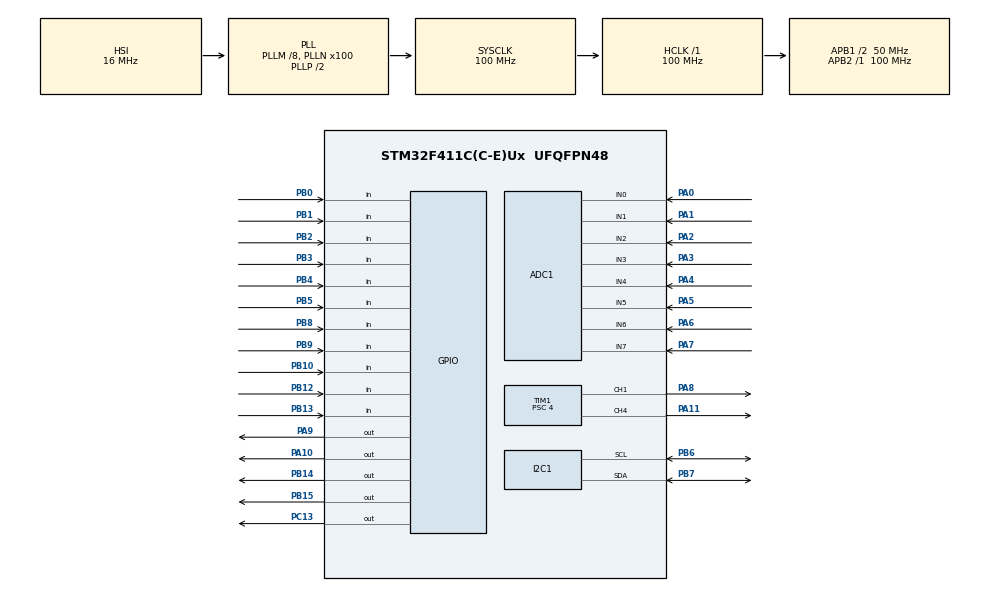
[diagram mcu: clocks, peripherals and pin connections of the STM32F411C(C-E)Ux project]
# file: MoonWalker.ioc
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ADC1.Channel-10\#ChannelRegularConversion=ADC_CHANNEL_2
ADC1.Channel-11\#ChannelRegularConversion=ADC_CHANNEL_3
ADC1.Channel-12\#ChannelRegularConversion=ADC_CHANNEL_4
ADC1.Channel-13\#ChannelRegularConversion=ADC_CHANNEL_5
ADC1.Channel-14\#ChannelRegularConversion=ADC_CHANNEL_6
ADC1.Channel-15\#ChannelRegularConversion=ADC_CHANNEL_7
ADC1.Channel-16\#ChannelRegularConversion=ADC_CHANNEL_VBAT
ADC1.Channel-17\#ChannelRegularConversion=ADC_CHANNEL_VREFINT
ADC1.Channel-9\#ChannelRegularConversion=ADC_CHANNEL_1
ADC1.ContinuousConvMode=ENABLE
ADC1.DMAContinuousRequests=ENABLE
ADC1.NbrOfConversion=10
ADC1.NbrOfConversionFlag=1
ADC1.Rank-10\#ChannelRegularConversion=3
ADC1.Rank-11\#ChannelRegularConversion=4
ADC1.Rank-12\#ChannelRegularConversion=5
ADC1.Rank-13\#ChannelRegularConversion=6
ADC1.Rank-14\#ChannelRegularConversion=7
ADC1.Rank-15\#ChannelRegularConversion=8
ADC1.Rank-16\#ChannelRegularConversion=9
ADC1.Rank-17\#ChannelRegularConversion=10
ADC1.Rank-9\#ChannelRegularConversion=2
ADC1.SamplingTime-10\#ChannelRegularConversion=ADC_SAMPLETIME_3CYCLES
ADC1.SamplingTime-11\#ChannelRegularConversion=ADC_SAMPLETIME_3CYCLES
ADC1.SamplingTime-12\#ChannelRegularConversion=ADC_SAMPLETIME_3CYCLES
ADC1.SamplingTime-13\#ChannelRegularConversion=ADC_SAMPLETIME_3CYCLES
ADC1.SamplingTime-14\#ChannelRegularConversion=ADC_SAMPLETIME_3CYCLES
ADC1.SamplingTime-15\#ChannelRegularConversion=ADC_SAMPLETIME_3CYCLES
ADC1.SamplingTime-16\#ChannelRegularConversion=ADC_SAMPLETIME_3CYCLES
ADC1.SamplingTime-17\#ChannelRegularConversion=ADC_SAMPLETIME_3CYCLES
ADC1.SamplingTime-9\#ChannelRegularConversion=ADC_SAMPLETIME_3CYCLES
ADC1.ScanConvMode=ENABLE
ADC1.master=1
Dma.ADC1.0.Direction=DMA_PERIPH_TO_MEMORY
Dma.ADC1.0.FIFOMode=DMA_FIFOMODE_DISABLE
Dma.ADC1.0.Instance=DMA2_Stream0
Dma.ADC1.0.MemDataAlignment=DMA_MDATAALIGN_HALFWORD
Dma.ADC1.0.MemInc=DMA_MINC_ENABLE
Dma.ADC1.0.Mode=DMA_CIRCULAR
Dma.ADC1.0.PeriphDataAlignment=DMA_PDATAALIGN_HALFWORD
Dma.ADC1.0.PeriphInc=DMA_PINC_DISABLE
Dma.ADC1.0.Priority=DMA_PRIORITY_VERY_HIGH
Dma.Request0=ADC1
Mcu.Family=STM32F4
Mcu.Name=STM32F411C(C-E)Ux
Mcu.Package=UFQFPN48
NVIC.DMA2_Stream0_IRQn=true\:0\:0\:false\:false\:true\:false\:true\:true
NVIC.PriorityGroup=NVIC_PRIORITYGROUP_4
PA0-WKUP.Signal=ADCx_IN0
PA1.Signal=ADCx_IN1
PA10.Signal=GPIO_Output
PA11.Signal=S_TIM1_CH4
PA2.Signal=ADCx_IN2
PA3.Signal=ADCx_IN3
PA4.Signal=ADCx_IN4
PA5.Signal=ADCx_IN5
PA6.Signal=ADCx_IN6
PA7.Signal=ADCx_IN7
PA8.Signal=S_TIM1_CH1
PA9.Signal=GPIO_Output
PB0.Signal=GPIO_Input
PB1.Signal=GPIO_Input
PB10.Signal=GPIO_Input
PB12.Signal=GPIO_Input
PB13.Signal=GPIO_Input
PB14.Signal=GPIO_Output
PB15.Signal=GPIO_Output
PB2.Signal=GPIO_Input
PB3.Signal=GPIO_Input
PB4.Signal=GPIO_Input
PB5.Signal=GPIO_Input
PB6.Mode=I2C
PB6.Signal=I2C1_SCL
PB7.Mode=I2C
PB7.Signal=I2C1_SDA
PB8.Signal=GPIO_Input
PB9.Signal=GPIO_Input
PC13-ANTI_TAMP.Signal=GPIO_Output
ProjectManager.HeapSize=0x200
ProjectManager.StackSize=0x400
ProjectManager.TargetToolchain=CMake
RCC.48MHZClocksFreq_Value=50000000
RCC.AHBFreq_Value=100000000
RCC.APB1CLKDivider=RCC_HCLK_DIV2
RCC.APB1Freq_Value=50000000
RCC.APB1TimFreq_Value=100000000
RCC.APB2Freq_Value=100000000
RCC.APB2TimFreq_Value=100000000
RCC.CortexFreq_Value=100000000
RCC.HCLKFreq_Value=100000000
RCC.HSE_VALUE=25000000
RCC.HSI_VALUE=16000000
RCC.LSE_VALUE=32768
RCC.PLLM=8
RCC.PLLN=100
RCC.SYSCLKFreq_VALUE=100000000
RCC.SYSCLKSource=RCC_SYSCLKSOURCE_PLLCLK
RCC.VCOOutputFreq_Value=200000000
SH.ADCx_IN0.0=ADC1_IN0,IN0
SH.ADCx_IN1.0=ADC1_IN1,IN1
SH.ADCx_IN2.0=ADC1_IN2,IN2
SH.ADCx_IN3.0=ADC1_IN3,IN3
SH.ADCx_IN4.0=ADC1_IN4,IN4
SH.ADCx_IN5.0=ADC1_IN5,IN5
SH.ADCx_IN6.0=ADC1_IN6,IN6
SH.ADCx_IN7.0=ADC1_IN7,IN7
SH.S_TIM1_CH1.0=TIM1_CH1,PWM Generation1 CH1
SH.S_TIM1_CH4.0=TIM1_CH4,PWM Generation4 CH4
TIM1.Channel-PWM\ Generation1\ CH1=TIM_CHANNEL_1
TIM1.Channel-PWM\ Generation4\ CH4=TIM_CHANNEL_4
TIM1.Period=1000
TIM1.Prescaler=4
VP_ADC1_Vbat_Input.Mode=IN-Vbat
VP_ADC1_Vref_Input.Mode=IN-Vrefint
VP_TIM1_VS_ClockSourceINT.Mode=Internal
VP_TIM1_VS_ClockSourceITR.Mode=TriggerSource_ITR0
board=custom

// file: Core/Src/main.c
/* USER CODE BEGIN Header */
/**
  ******************************************************************************
  * @file           : main.c
  * @brief          : Main program body
  ******************************************************************************
  * @attention
  *
  * Copyright (c) 2026 STMicroelectronics.
  * All rights reserved.
  *
  * This software is licensed under terms that can be found in the LICENSE file
  * in the root directory of this software component.
  * If no LICENSE file comes with this software, it is provided AS-IS.
  *
  ******************************************************************************
  */
/* USER CODE END Header */
#include "main.h"

/* USER CODE BEGIN Includes */
#include "motor.h"
#include "mpu6050.h"
#include "ssd1306.h"
#include "stm32f4xx_hal_adc.h"
#include <stdint.h>
#include"followin.h"
#include "ssd1306_fonts.h"
#include "stdio.h"
#include "oled.h"
extern float last_known_error;
extern states states_global;
/* USER CODE END Includes */

ADC_HandleTypeDef hadc1;
DMA_HandleTypeDef hdma_adc1;

I2C_HandleTypeDef hi2c1;

TIM_HandleTypeDef htim1;

void SystemClock_Config(void);
static void MX_GPIO_Init(void);
static void MX_DMA_Init(void);
static void MX_ADC1_Init(void);
static void MX_TIM1_Init(void);
static void MX_I2C1_Init(void);
/* USER CODE BEGIN PFP */
 volatile uint16_t sensor_read[10];
 const char* get_state_string(states s) {
    switch(s) {
        case straight: return "Straight";
        case corner: return "Corner";
        case intersection_pending: return "Intersect";
        case lost: return "Lost";
        default: return "Unknown";
    }
}

/* USER CODE END PFP */

int main(void)
{

  /* MCU Configuration--------------------------------------------------------*/

  /* Reset of all peripherals, Initializes the Flash interface and the Systick. */
  HAL_Init();

  /* Configure the system clock */
  SystemClock_Config();

  /* Initialize all configured peripherals */
  MX_GPIO_Init();
  MX_DMA_Init();
  MX_ADC1_Init();
  MX_TIM1_Init();
  MX_I2C1_Init();
  /* USER CODE BEGIN 2 */
 // MPU6050_Init();
  ssd1306_Init();
  motor_pin_set(&htim1);
  HAL_ADC_Start_DMA(&hadc1, (void*)sensor_read, 10);
  /* USER CODE END 2 */

  /* Infinite loop */
  /* USER CODE BEGIN WHILE */
  uint32_t dumy_thrashold_for_test[8]={800,800,800,800,800,800,800,800};
  for(int i =0;i<8;i++){
  sensor_thrashold[i] = dumy_thrashold_for_test[i] ;
  }
  uint32_t last_oled_update = 0;
  bool in_setting = false;
  bool fast_run_mode = false;
  uint32_t last_btn_time = 0;
  while (1)
  {
    if (HAL_GPIO_ReadPin(GPIOB, GPIO_PIN_5) == GPIO_PIN_RESET) {
          if (HAL_GetTick() - last_btn_time > 200) { // 200ms debounce
              fast_run_mode = !fast_run_mode;
              last_btn_time = HAL_GetTick();

              if (fast_run_mode) {
                  // Turn screen completely black once, then stop talking to it
                  ssd1306_Fill(Black);
                  ssd1306_UpdateScreen();
              } else {
                  motor_control(0, 0, &htim1); // Stop motors when exiting
              }
          }
      }

      // If in fast run mode, drive and IMMEDIATELY restart the loop (skip screen)
      if (fast_run_mode) {
          drive(&htim1);
          continue;
      }

      // --- 2. PB4: Scroll Menu or Change Setting ---
     if (HAL_GPIO_ReadPin(GPIOB, GPIO_PIN_4) == GPIO_PIN_RESET) {
          if (HAL_GetTick() - last_btn_time > 200) {
              if (!in_setting) {
                  // Scroll main menu
                  current_mode = (current_mode + 1) % MODE_COUNT;
              } else {
                  // Change the setting inside a menu
                  if (current_mode == MODE_BIAS_SELECT) {
                       biease_global = (biease_global + 1) % 3;
                  }
              }
              last_btn_time = HAL_GetTick();
          }
      }

      // --- 3. PB3: Enter or Exit Setting ---
      if (HAL_GPIO_ReadPin(GPIOB, GPIO_PIN_3) == GPIO_PIN_RESET) {
          if (HAL_GetTick() - last_btn_time > 200) {
              in_setting = !in_setting;
              last_btn_time = HAL_GetTick();

              if (in_setting && current_mode == MODE_RUN) {
                  // Blank the screen the exact moment we enter Run Mode from the menu
                  ssd1306_Fill(Black);
                  ssd1306_UpdateScreen();
              }

              if (!in_setting) {
                 motor_control(0, 0, &htim1); // Safety stop when exiting a mode
              }
          }
      }

      // --- 4. Motor Execution ---
      if (in_setting && current_mode == MODE_RUN) {
          drive(&htim1);
          // The continue statement skips everything below this point!
          // The OLED never updates during the run.
          continue;
      }

      // --- 5. OLED Refresh (Only runs if NOT driving) ---
      if (HAL_GetTick() - last_oled_update > 100) {
          last_oled_update = HAL_GetTick();

          if (!in_setting) {
              // Draw the Main Menu
              ssd1306_Fill(Black);
              ssd1306_SetCursor(2, 2);
              ssd1306_WriteString("--- MAIN MENU ---", Font_7x10, White);

              ssd1306_SetCursor(2, 20);
              if (current_mode == MODE_SENSOR_TEST) {
                  ssd1306_WriteString("> Sensor Test", Font_7x10, White);
              } else if (current_mode == MODE_RUN) {
                  ssd1306_WriteString("> Run Mode", Font_7x10, White);
              } else if (current_mode == MODE_TELEMETRY) {
                  ssd1306_WriteString("> MODE_TELEMETRYs", Font_7x10, White);
              } else if (current_mode == MODE_BIAS_SELECT) {
                  ssd1306_WriteString("> Bias Select", Font_7x10, White);
              }

              ssd1306_SetCursor(2, 50);
              ssd1306_WriteString("PB3:Enter PB4:Next", Font_6x8, White);
              ssd1306_UpdateScreen();
          } else {
              // Delegate to oled.c (for things like Sensor Test and Bias Select)
              oled_mode_handler();
          }
      }
    /* USER CODE END WHILE */

    }
}

void SystemClock_Config(void)
{
  RCC_OscInitTypeDef RCC_OscInitStruct = {0};
  RCC_ClkInitTypeDef RCC_ClkInitStruct = {0};

  /** Configure the main internal regulator output voltage
  */
  __HAL_RCC_PWR_CLK_ENABLE();
  __HAL_PWR_VOLTAGESCALING_CONFIG(PWR_REGULATOR_VOLTAGE_SCALE1);

  /** Initializes the RCC Oscillators according to the specified parameters
  * in the RCC_OscInitTypeDef structure.
  */
  RCC_OscInitStruct.OscillatorType = RCC_OSCILLATORTYPE_HSI;
  RCC_OscInitStruct.HSIState = RCC_HSI_ON;
  RCC_OscInitStruct.HSICalibrationValue = RCC_HSICALIBRATION_DEFAULT;
  RCC_OscInitStruct.PLL.PLLState = RCC_PLL_ON;
  RCC_OscInitStruct.PLL.PLLSource = RCC_PLLSOURCE_HSI;
  RCC_OscInitStruct.PLL.PLLM = 8;
  RCC_OscInitStruct.PLL.PLLN = 100;
  RCC_OscInitStruct.PLL.PLLP = RCC_PLLP_DIV2;
  RCC_OscInitStruct.PLL.PLLQ = 4;
  if (HAL_RCC_OscConfig(&RCC_OscInitStruct) != HAL_OK)
  {
    Error_Handler();
  }

  /** Initializes the CPU, AHB and APB buses clocks
  */
  RCC_ClkInitStruct.ClockType = RCC_CLOCKTYPE_HCLK|RCC_CLOCKTYPE_SYSCLK
                              |RCC_CLOCKTYPE_PCLK1|RCC_CLOCKTYPE_PCLK2;
  RCC_ClkInitStruct.SYSCLKSource = RCC_SYSCLKSOURCE_PLLCLK;
  RCC_ClkInitStruct.AHBCLKDivider = RCC_SYSCLK_DIV1;
  RCC_ClkInitStruct.APB1CLKDivider = RCC_HCLK_DIV2;
  RCC_ClkInitStruct.APB2CLKDivider = RCC_HCLK_DIV1;

  if (HAL_RCC_ClockConfig(&RCC_ClkInitStruct, FLASH_LATENCY_3) != HAL_OK)
  {
    Error_Handler();
  }
}

static void MX_ADC1_Init(void)
{

  ADC_ChannelConfTypeDef sConfig = {0};

  /** Configure the global features of the ADC (Clock, Resolution, Data Alignment and number of conversion)
  */
  hadc1.Instance = ADC1;
  hadc1.Init.ClockPrescaler = ADC_CLOCK_SYNC_PCLK_DIV4;
  hadc1.Init.Resolution = ADC_RESOLUTION_12B;
  hadc1.Init.ScanConvMode = ENABLE;
  hadc1.Init.ContinuousConvMode = ENABLE;
  hadc1.Init.DiscontinuousConvMode = DISABLE;
  hadc1.Init.ExternalTrigConvEdge = ADC_EXTERNALTRIGCONVEDGE_NONE;
  hadc1.Init.ExternalTrigConv = ADC_SOFTWARE_START;
  hadc1.Init.DataAlign = ADC_DATAALIGN_RIGHT;
  hadc1.Init.NbrOfConversion = 10;
  hadc1.Init.DMAContinuousRequests = ENABLE;
  hadc1.Init.EOCSelection = ADC_EOC_SINGLE_CONV;
  if (HAL_ADC_Init(&hadc1) != HAL_OK)
  {
    Error_Handler();
  }

  /** Configure for the selected ADC regular channel its corresponding rank in the sequencer and its sample time.
  */
  sConfig.Channel = ADC_CHANNEL_1;
  sConfig.Rank = 2;
  sConfig.SamplingTime = ADC_SAMPLETIME_3CYCLES;
  if (HAL_ADC_ConfigChannel(&hadc1, &sConfig) != HAL_OK)
  {
    Error_Handler();
  }

  /** Configure for the selected ADC regular channel its corresponding rank in the sequencer and its sample time.
  */
  sConfig.Channel = ADC_CHANNEL_2;
  sConfig.Rank = 3;
  if (HAL_ADC_ConfigChannel(&hadc1, &sConfig) != HAL_OK)
  {
    Error_Handler();
  }

  /** Configure for the selected ADC regular channel its corresponding rank in the sequencer and its sample time.
  */
  sConfig.Channel = ADC_CHANNEL_3;
  sConfig.Rank = 4;
  if (HAL_ADC_ConfigChannel(&hadc1, &sConfig) != HAL_OK)
  {
    Error_Handler();
  }

  /** Configure for the selected ADC regular channel its corresponding rank in the sequencer and its sample time.
  */
  sConfig.Channel = ADC_CHANNEL_4;
  sConfig.Rank = 5;
  if (HAL_ADC_ConfigChannel(&hadc1, &sConfig) != HAL_OK)
  {
    Error_Handler();
  }

  /** Configure for the selected ADC regular channel its corresponding rank in the sequencer and its sample time.
  */
  sConfig.Channel = ADC_CHANNEL_5;
  sConfig.Rank = 6;
  if (HAL_ADC_ConfigChannel(&hadc1, &sConfig) != HAL_OK)
  {
    Error_Handler();
  }

  /** Configure for the selected ADC regular channel its corresponding rank in the sequencer and its sample time.
  */
  sConfig.Channel = ADC_CHANNEL_6;
  sConfig.Rank = 7;
  if (HAL_ADC_ConfigChannel(&hadc1, &sConfig) != HAL_OK)
  {
    Error_Handler();
  }

  /** Configure for the selected ADC regular channel its corresponding rank in the sequencer and its sample time.
  */
  sConfig.Channel = ADC_CHANNEL_7;
  sConfig.Rank = 8;
  if (HAL_ADC_ConfigChannel(&hadc1, &sConfig) != HAL_OK)
  {
    Error_Handler();
  }

  /** Configure for the selected ADC regular channel its corresponding rank in the sequencer and its sample time.
  */
  sConfig.Channel = ADC_CHANNEL_VBAT;
  sConfig.Rank = 9;
  if (HAL_ADC_ConfigChannel(&hadc1, &sConfig) != HAL_OK)
  {
    Error_Handler();
  }

  /** Configure for the selected ADC regular channel its corresponding rank in the sequencer and its sample time.
  */
  sConfig.Channel = ADC_CHANNEL_VREFINT;
  sConfig.Rank = 10;
  if (HAL_ADC_ConfigChannel(&hadc1, &sConfig) != HAL_OK)
  {
    Error_Handler();
  }

}

static void MX_I2C1_Init(void)
{

  hi2c1.Instance = I2C1;
  hi2c1.Init.ClockSpeed = 100000;
  hi2c1.Init.DutyCycle = I2C_DUTYCYCLE_2;
  hi2c1.Init.OwnAddress1 = 0;
  hi2c1.Init.AddressingMode = I2C_ADDRESSINGMODE_7BIT;
  hi2c1.Init.DualAddressMode = I2C_DUALADDRESS_DISABLE;
  hi2c1.Init.OwnAddress2 = 0;
  hi2c1.Init.GeneralCallMode = I2C_GENERALCALL_DISABLE;
  hi2c1.Init.NoStretchMode = I2C_NOSTRETCH_DISABLE;
  if (HAL_I2C_Init(&hi2c1) != HAL_OK)
  {
    Error_Handler();
  }

}

static void MX_TIM1_Init(void)
{

  TIM_ClockConfigTypeDef sClockSourceConfig = {0};
  TIM_SlaveConfigTypeDef sSlaveConfig = {0};
  TIM_MasterConfigTypeDef sMasterConfig = {0};
  TIM_OC_InitTypeDef sConfigOC = {0};
  TIM_BreakDeadTimeConfigTypeDef sBreakDeadTimeConfig = {0};

  htim1.Instance = TIM1;
  htim1.Init.Prescaler = 4;
  htim1.Init.CounterMode = TIM_COUNTERMODE_UP;
  htim1.Init.Period = 1000;
  htim1.Init.ClockDivision = TIM_CLOCKDIVISION_DIV1;
  htim1.Init.RepetitionCounter = 0;
  htim1.Init.AutoReloadPreload = TIM_AUTORELOAD_PRELOAD_DISABLE;
  if (HAL_TIM_Base_Init(&htim1) != HAL_OK)
  {
    Error_Handler();
  }
  sClockSourceConfig.ClockSource = TIM_CLOCKSOURCE_INTERNAL;
  if (HAL_TIM_ConfigClockSource(&htim1, &sClockSourceConfig) != HAL_OK)
  {
    Error_Handler();
  }
  if (HAL_TIM_PWM_Init(&htim1) != HAL_OK)
  {
    Error_Handler();
  }
  sSlaveConfig.SlaveMode = TIM_SLAVEMODE_DISABLE;
  sSlaveConfig.InputTrigger = TIM_TS_ITR0;
  if (HAL_TIM_SlaveConfigSynchro(&htim1, &sSlaveConfig) != HAL_OK)
  {
    Error_Handler();
  }
  sMasterConfig.MasterOutputTrigger = TIM_TRGO_RESET;
  sMasterConfig.MasterSlaveMode = TIM_MASTERSLAVEMODE_DISABLE;
  if (HAL_TIMEx_MasterConfigSynchronization(&htim1, &sMasterConfig) != HAL_OK)
  {
    Error_Handler();
  }
  sConfigOC.OCMode = TIM_OCMODE_PWM1;
  sConfigOC.Pulse = 0;
  sConfigOC.OCPolarity = TIM_OCPOLARITY_HIGH;
  sConfigOC.OCNPolarity = TIM_OCNPOLARITY_HIGH;
  sConfigOC.OCFastMode = TIM_OCFAST_DISABLE;
  sConfigOC.OCIdleState = TIM_OCIDLESTATE_RESET;
  sConfigOC.OCNIdleState = TIM_OCNIDLESTATE_RESET;
  if (HAL_TIM_PWM_ConfigChannel(&htim1, &sConfigOC, TIM_CHANNEL_1) != HAL_OK)
  {
    Error_Handler();
  }
  if (HAL_TIM_PWM_ConfigChannel(&htim1, &sConfigOC, TIM_CHANNEL_4) != HAL_OK)
  {
    Error_Handler();
  }
  sBreakDeadTimeConfig.OffStateRunMode = TIM_OSSR_DISABLE;
  sBreakDeadTimeConfig.OffStateIDLEMode = TIM_OSSI_DISABLE;
  sBreakDeadTimeConfig.LockLevel = TIM_LOCKLEVEL_OFF;
  sBreakDeadTimeConfig.DeadTime = 0;
  sBreakDeadTimeConfig.BreakState = TIM_BREAK_DISABLE;
  sBreakDeadTimeConfig.BreakPolarity = TIM_BREAKPOLARITY_HIGH;
  sBreakDeadTimeConfig.AutomaticOutput = TIM_AUTOMATICOUTPUT_DISABLE;
  if (HAL_TIMEx_ConfigBreakDeadTime(&htim1, &sBreakDeadTimeConfig) != HAL_OK)
  {
    Error_Handler();
  }
  HAL_TIM_MspPostInit(&htim1);

}

static void MX_DMA_Init(void)
{

  /* DMA controller clock enable */
  __HAL_RCC_DMA2_CLK_ENABLE();

  /* DMA interrupt init */
  /* DMA2_Stream0_IRQn interrupt configuration */
  HAL_NVIC_SetPriority(DMA2_Stream0_IRQn, 0, 0);
  HAL_NVIC_EnableIRQ(DMA2_Stream0_IRQn);

}

static void MX_GPIO_Init(void)
{
  GPIO_InitTypeDef GPIO_InitStruct = {0};

  /* GPIO Ports Clock Enable */
  __HAL_RCC_GPIOC_CLK_ENABLE();
  __HAL_RCC_GPIOA_CLK_ENABLE();
  __HAL_RCC_GPIOB_CLK_ENABLE();

  /*Configure GPIO pin Output Level */
  HAL_GPIO_WritePin(GPIOC, GPIO_PIN_13, GPIO_PIN_RESET);

  /*Configure GPIO pin Output Level */
  HAL_GPIO_WritePin(GPIOB, GPIO_PIN_14|GPIO_PIN_15, GPIO_PIN_RESET);

  /*Configure GPIO pin Output Level */
  HAL_GPIO_WritePin(GPIOA, GPIO_PIN_9|GPIO_PIN_10, GPIO_PIN_RESET);

  /*Configure GPIO pin : PC13 */
  GPIO_InitStruct.Pin = GPIO_PIN_13;
  GPIO_InitStruct.Mode = GPIO_MODE_OUTPUT_PP;
  GPIO_InitStruct.Pull = GPIO_NOPULL;
  GPIO_InitStruct.Speed = GPIO_SPEED_FREQ_LOW;
  HAL_GPIO_Init(GPIOC, &GPIO_InitStruct);

  /*Configure GPIO pins : PB0 PB1 PB2 PB10
                           PB12 PB13 PB3 PB4
                           PB5 PB8 PB9 */
  GPIO_InitStruct.Pin = GPIO_PIN_0|GPIO_PIN_1|GPIO_PIN_2|GPIO_PIN_10
                          |GPIO_PIN_12|GPIO_PIN_13|GPIO_PIN_3|GPIO_PIN_4
                          |GPIO_PIN_5|GPIO_PIN_8|GPIO_PIN_9;
  GPIO_InitStruct.Mode = GPIO_MODE_INPUT;
  GPIO_InitStruct.Pull = GPIO_NOPULL;
  HAL_GPIO_Init(GPIOB, &GPIO_InitStruct);

  /*Configure GPIO pins : PB14 PB15 */
  GPIO_InitStruct.Pin = GPIO_PIN_14|GPIO_PIN_15;
  GPIO_InitStruct.Mode = GPIO_MODE_OUTPUT_PP;
  GPIO_InitStruct.Pull = GPIO_NOPULL;
  GPIO_InitStruct.Speed = GPIO_SPEED_FREQ_LOW;
  HAL_GPIO_Init(GPIOB, &GPIO_InitStruct);

  /*Configure GPIO pins : PA9 PA10 */
  GPIO_InitStruct.Pin = GPIO_PIN_9|GPIO_PIN_10;
  GPIO_InitStruct.Mode = GPIO_MODE_OUTPUT_PP;
  GPIO_InitStruct.Pull = GPIO_NOPULL;
  GPIO_InitStruct.Speed = GPIO_SPEED_FREQ_LOW;
  HAL_GPIO_Init(GPIOA, &GPIO_InitStruct);

}

void Error_Handler(void)
{
  __disable_irq();
  while (1)
  {
  }
}
